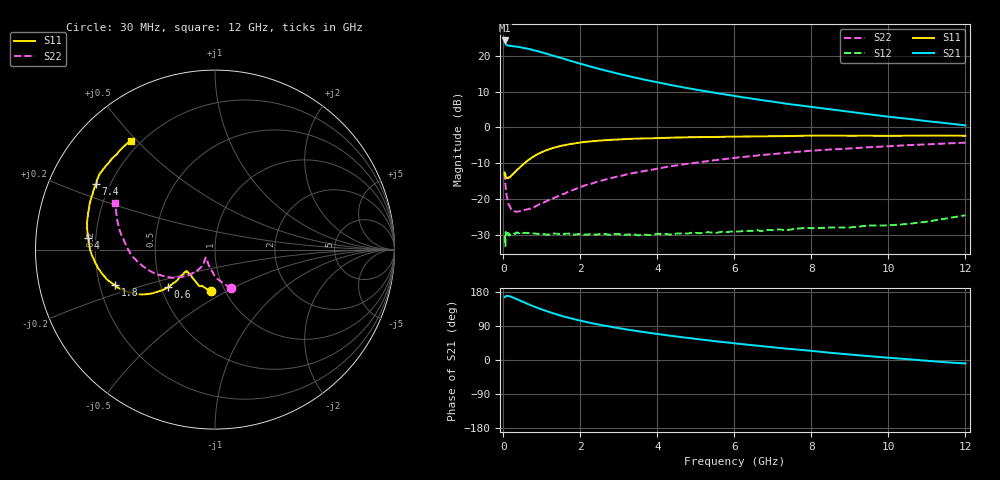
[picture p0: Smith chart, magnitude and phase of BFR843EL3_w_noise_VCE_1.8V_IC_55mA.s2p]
! Infineon Technologies  Discrete & RF Semiconductors
! BFR843EL3
! VCE =  1.8 V,  IC =  55 mA
! Common Emitter S-Parameters:  Aug 2013
# GHz  S  MA  R  50
!  f  S11  S21  S12  S22
! GHz  MAG  ANG  MAG  ANG  MAG  ANG  MAG  ANG
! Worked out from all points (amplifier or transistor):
!   103 points, 30 MHz to 12 GHz, reference 50 ohm
!   highest |S21| = 24.3 dB at 30 MHz (marker M1)
!   |S21| within 3 dB of that: start of sweep to 884 MHz
!   unconditionally stable (mu >= 1): start of sweep to end of sweep
!   at 400 MHz: K = 1.26, MAG = 22.9 dB, |S12| = -29.6 dB
!   at 3.7 GHz: K = 1.59, MAG = 17.1 dB, |S12| = -30.0 dB
!   at 12 GHz: K = 2.25, MAG = 6.3 dB, |S12| = -24.6 dB
!   lowest NFmin = 1.94 dB at 450 MHz
!   S11 on the Smith chart (normalised r, x): 30 MHz: 0.86, -0.42; 600 MHz: 0.54, -0.26; 1.8 GHz: 0.26, -0.16; 4 GHz: 0.17, +0.05; 7.4 GHz: 0.15, +0.25; 12 GHz: 0.16, +0.48
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0.03  0.2341 -96.0  16.43 165.7  0.0287 30.6  0.2345 -67.4
0.04  0.215 -109.4  15.56 166.4  0.0297 23.5  0.1897 -77.1
0.05  0.2219 -113.1  15.17 167.1  0.0219 41.8  0.1623 -85.9
0.06  0.2006 -129.0  14.62 168.2  0.0345 25.6  0.1413 -92.3
0.1  0.1964 -138.3  14.1 169.2  0.0328 12.6  0.0992 -108.7
0.15  0.1979 -142.1  13.89 168.5  0.0308 5.0  0.0818 -120.8
0.35  0.2539 -142.1  13.43 160.5  0.0341 0.7  0.0665 -136.7
0.6  0.3349 -141.2  12.7 149.3  0.0336 3.3  0.0712 -137.3
0.8  0.3975 -143.8  11.95 140.9  0.033 2.3  0.0771 -135.0
1.1  0.4759 -148.3  10.8 129.7  0.0318 3.4  0.092 -131.6
1.5  0.5532 -155.6  9.33 116.8  0.0318 4.2  0.1152 -129.1
1.8  0.5922 -160.4  8.349 108.7  0.0317 6.4  0.1331 -129.0
2.1  0.6263 -164.8  7.5 101.4  0.0318 5.7  0.1537 -130.6
2.6  0.6612 -171.3  6.344 91.1  0.0329 9.3  0.1835 -133.4
3  0.6795 -175.9  5.599 84.0  0.0322 8.6  0.2079 -136.2
4  0.7093 174.6  4.276 68.6  0.0327 15.1  0.2652 -144.1
4.1  0.7122 173.8  4.167 67.3  0.0325 15.2  0.2706 -144.6
6.1  0.7455 159.0  2.7 43.0  0.0352 23.7  0.3806 -161.7
7.4  0.7564 151.0  2.128 29.5  0.037 28.8  0.4449 -172.6
8.5  0.7671 143.8  1.788 19.0  0.0399 29.5  0.4923 178.2
10.5  0.7662 133.8  1.322 2.2  0.0448 39.3  0.5654 164.0
12  0.7649 127.6  1.07 -9.1  0.0592 42.7  0.6123 155.1
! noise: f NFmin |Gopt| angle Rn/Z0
0.45  1.94  0.32  -179  0.13
0.9  1.97  0.36  188  0.12
1.5  2.03  0.38  190  0.12
1.9  2.08  0.38  190  0.11
2.4  2.15  0.42  196  0.1
3.5  2.32  0.45  200  0.12
5.5  2.64  0.52  210  0.16
8  3.02  0.62  222  0.28
10  3.31  0.63  237  0.63
